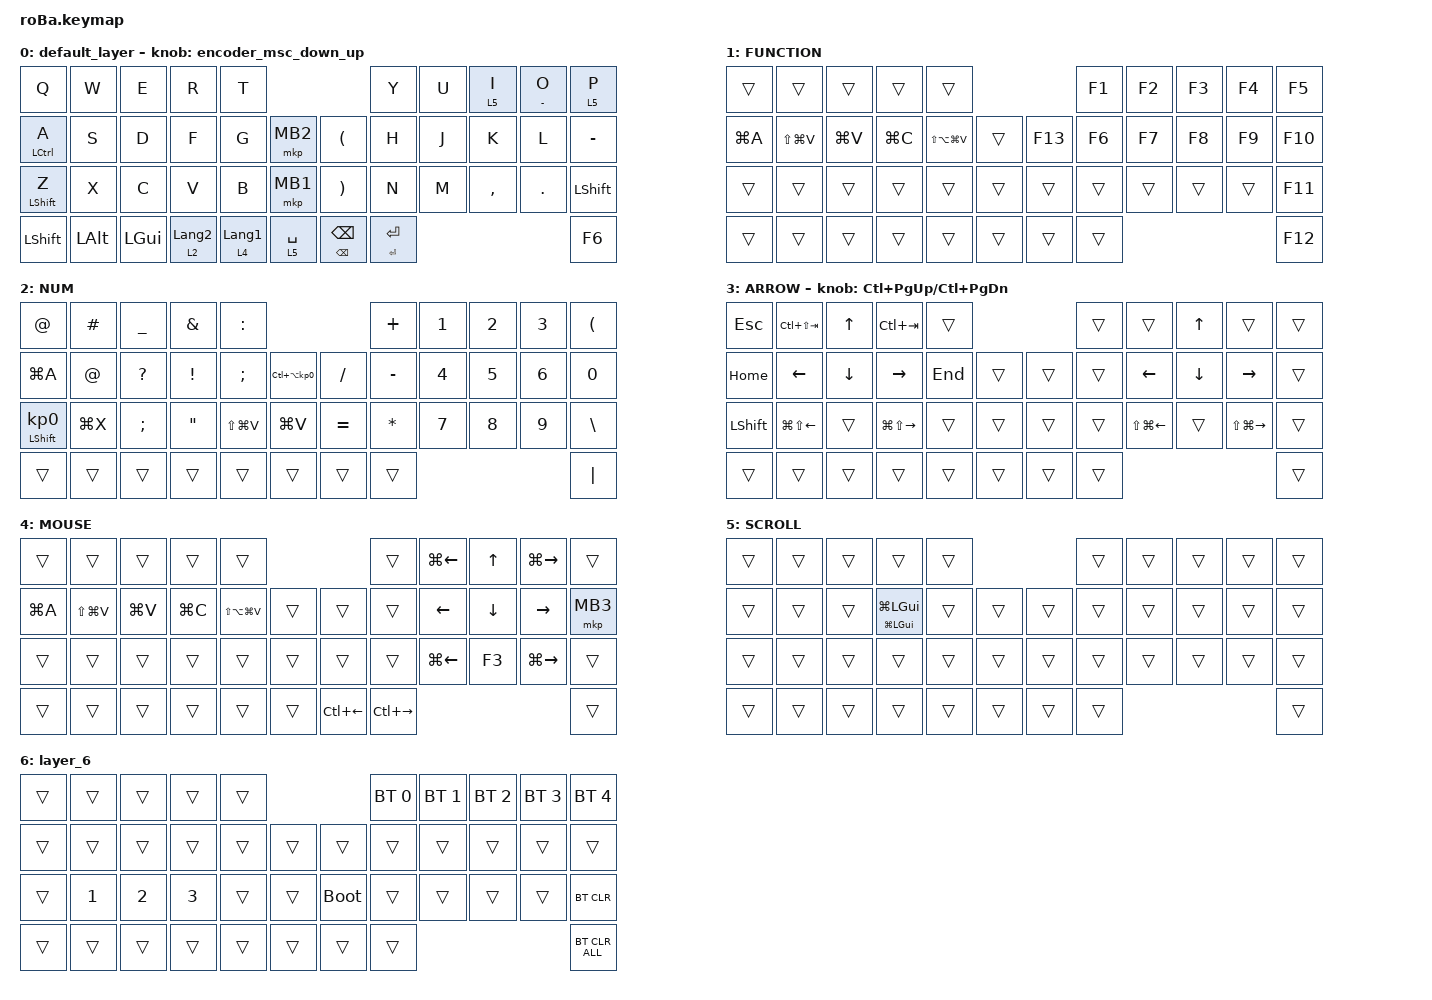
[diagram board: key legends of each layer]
#include <behaviors.dtsi>
#include <dt-bindings/zmk/bt.h>
#include <dt-bindings/zmk/keys.h>
#include <dt-bindings/zmk/pointing.h>

#define ZMK_POINTING_DEFAULT_SCRL_VAL 80
#define MOUSE 4
#define SCROLL 5
#define NUM 6

&mt {
    flavor = "balanced";
    quick-tap-ms = <0>;
};

/ {
    combos {
        compatible = "zmk,combos";

        tab {
            bindings = <&kp TAB>;
            key-positions = <11 12>;
        };

        shift_tab {
            bindings = <&kp LS(TAB)>;
            key-positions = <12 13>;
        };

        muhennkann {
            bindings = <&to_layer_0 INT_MUHENKAN>;
            key-positions = <11 10>;
        };

        double_quotation {
            bindings = <&kp DOUBLE_QUOTES>;
            key-positions = <20 21>;
        };

        eq {
            bindings = <&kp EQUAL>;
            key-positions = <24 25>;
        };
    };

    behaviors {
        encoder_msc_down_up: encoder_msc_down_up {
            compatible = "zmk,behavior-sensor-rotate";
            label = "ENCODER_MSC_DOWN_UP";
            #sensor-binding-cells = <0>;
            bindings = <&msc SCRL_UP>, <&msc SCRL_DOWN>;

            tap-ms = <20>;
        };
    };

    macros {
        to_layer_0: to_layer_0 {
            compatible = "zmk,behavior-macro-one-param";
            #binding-cells = <1>;
            bindings = <&to 0 &macro_param_1to1 &kp MACRO_PLACEHOLDER>;
            label = "TO_LAYER_0";
        };
    };

    behaviors {
        lt_to_layer_0: lt_to_layer_0 {
            compatible = "zmk,behavior-hold-tap";
            label = "LAYER_TAP_TO_0";
            bindings = <&mo>, <&to_layer_0>;

            #binding-cells = <2>;
            tapping-term-ms = <200>;
        };
    };

    keymap {
        compatible = "zmk,keymap";

        default_layer {
            bindings = <
&kp Q               &kp W         &kp E         &kp R                        &kp T                                                                             &kp Y            &kp U  &lt 5 I    &mt MINUS O  &lt 5 P
&mt LEFT_CONTROL A  &kp S         &kp D         &kp F                        &kp G                        &mkp MB2                    &kp LEFT_PARENTHESIS     &kp H            &kp J  &kp K      &kp L        &kp MINUS
&mt LEFT_SHIFT Z    &kp X         &kp C         &kp V                        &kp B                        &mkp MB1                    &kp RIGHT_PARENTHESIS    &kp N            &kp M  &kp COMMA  &kp DOT      &kp LEFT_SHIFT
&kp LEFT_SHIFT      &kp LEFT_ALT  &kp LEFT_GUI  &lt_to_layer_0 2 LANGUAGE_2  &lt_to_layer_0 4 LANGUAGE_1  &lt_to_layer_0 5 SPACE      &mt BACKSPACE BACKSPACE  &mt ENTER ENTER                                 &kp F6
            >;

            sensor-bindings = <&encoder_msc_down_up>;
        };

        FUNCTION {
            bindings = <
&trans     &trans         &trans     &trans     &trans                                  &kp F1  &kp F2  &kp F3  &kp F4  &kp F5
&kp LG(A)  &kp LS(LG(V))  &kp LG(V)  &kp LG(C)  &kp LS(LA(LG(V)))  &trans      &kp F13  &kp F6  &kp F7  &kp F8  &kp F9  &kp F10
&trans     &trans         &trans     &trans     &trans             &trans      &trans   &trans  &trans  &trans  &trans  &kp F11
&trans     &trans         &trans     &trans     &trans             &trans      &trans   &trans                          &kp F12
            >;
        };

        NUM {
            bindings = <
&kp AT_SIGN                 &kp HASH     &kp UNDERSCORE  &kp AMPERSAND      &kp COLON                                              &kp PLUS      &kp NUMBER_1  &kp NUMBER_2  &kp NUMBER_3  &kp LEFT_PARENTHESIS
&kp LG(A)                   &kp AT_SIGN  &kp QUESTION    &kp EXCLAMATION    &kp SEMICOLON  &kp LC(LA(KP_NUMBER_0))      &kp SLASH  &kp MINUS     &kp NUMBER_4  &kp N5        &kp NUMBER_6  &kp NUMBER_0
&mt LEFT_SHIFT KP_NUMBER_0  &kp LG(X)    &kp SEMICOLON   &kp DOUBLE_QUOTES  &kp LS(LG(V))  &kp LG(V)                    &kp EQUAL  &kp ASTERISK  &kp NUMBER_7  &kp NUMBER_8  &kp NUMBER_9  &kp BACKSLASH
&trans                      &trans       &trans          &trans             &trans         &trans                       &trans     &trans                                                  &kp PIPE
            >;
        };

        ARROW {
            bindings = <
&kp ESCAPE      &kp LC(LS(TAB))         &kp UP_ARROW    &kp LC(TAB)              &trans                       &trans  &trans                  &kp UP_ARROW    &trans                   &trans
&kp HOME        &kp LEFT_ARROW          &kp DOWN_ARROW  &kp RIGHT_ARROW          &kp END  &trans      &trans  &trans  &kp LEFT_ARROW          &kp DOWN_ARROW  &kp RIGHT_ARROW          &trans
&kp LEFT_SHIFT  &kp LG(LS(LEFT_ARROW))  &trans          &kp LG(LS(RIGHT_ARROW))  &trans   &trans      &trans  &trans  &kp LS(LG(LEFT_ARROW))  &trans          &kp LS(LG(RIGHT_ARROW))  &trans
&trans          &trans                  &trans          &trans                   &trans   &trans      &trans  &trans                                                                   &trans
            >;

            sensor-bindings = <&inc_dec_kp LC(PAGE_UP) LC(PAGE_DOWN)>;
        };

        MOUSE {
            bindings = <
&trans     &trans         &trans     &trans     &trans                                             &trans               &kp LG(LEFT_ARROW)  &kp UP_ARROW    &kp LG(RIGHT_ARROW)  &trans
&kp LG(A)  &kp LS(LG(V))  &kp LG(V)  &kp LG(C)  &kp LS(LA(LG(V)))  &trans      &trans              &trans               &kp LEFT_ARROW      &kp DOWN_ARROW  &kp RIGHT_ARROW      &mkp MB3
&trans     &trans         &trans     &trans     &trans             &trans      &trans              &trans               &kp LG(LEFT_ARROW)  &kp F3          &kp LG(RIGHT_ARROW)  &trans
&trans     &trans         &trans     &trans     &trans             &trans      &kp LC(LEFT_ARROW)  &kp LC(RIGHT_ARROW)                                                           &trans
            >;
        };

        SCROLL {
            bindings = <
&trans  &trans  &trans  &trans                         &trans                      &trans  &trans  &trans  &trans  &trans
&trans  &trans  &trans  &mt LG(LEFT_GUI) LG(LEFT_GUI)  &trans  &trans      &trans  &trans  &trans  &trans  &trans  &trans
&trans  &trans  &trans  &trans                         &trans  &trans      &trans  &trans  &trans  &trans  &trans  &trans
&trans  &trans  &trans  &trans                         &trans  &trans      &trans  &trans                          &trans
            >;
        };

        layer_6 {
            bindings = <
&trans  &trans        &trans        &trans        &trans                           &bt BT_SEL 0  &bt BT_SEL 1  &bt BT_SEL 2  &bt BT_SEL 3  &bt BT_SEL 4
&trans  &trans        &trans        &trans        &trans  &trans      &trans       &trans        &trans        &trans        &trans        &trans
&trans  &kp NUMBER_1  &kp NUMBER_2  &kp NUMBER_3  &trans  &trans      &bootloader  &trans        &trans        &trans        &trans        &bt BT_CLR
&trans  &trans        &trans        &trans        &trans  &trans      &trans       &trans                                                  &bt BT_CLR_ALL
            >;
        };
    };
};
